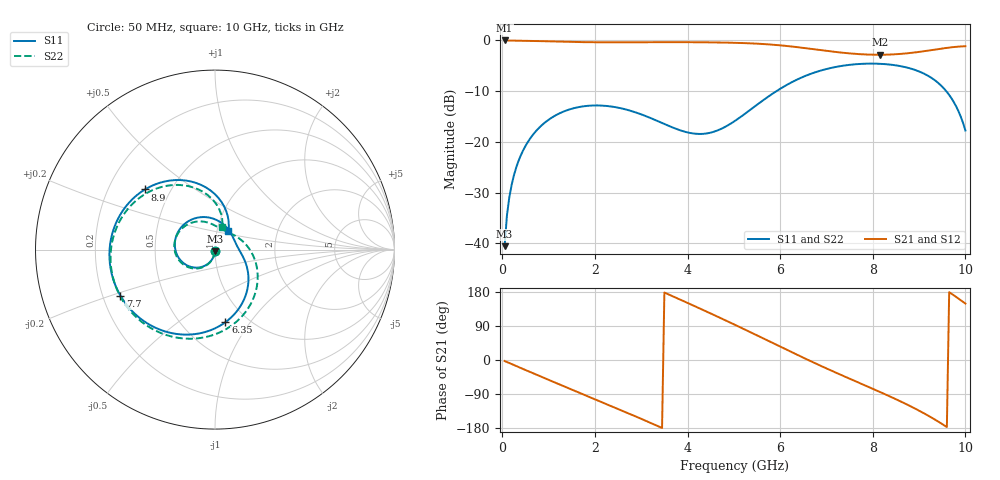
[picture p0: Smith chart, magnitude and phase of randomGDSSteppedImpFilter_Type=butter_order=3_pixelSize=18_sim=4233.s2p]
! freq	dB(S11)	phase(S11)	dB(S12)	phase(S12)
!  dB(S21)	phase(S21)	dB(S22)	phase(S22)
!S-par simulation data
#  GHz  S  DB  R 50
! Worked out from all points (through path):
!   200 points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, 50 MHz to 10 GHz, reference 50 ohm
!   highest |S21| = 0.00 dB at 50 MHz (marker M1); lowest = -2.8 dB at 8.15 GHz (marker M2)
!   group delay of S21, straight-line fit = 155 ps
!   lowest |S11| = -40.5 dB at 50 MHz (marker M3), VSWR 1.02, Z = 50 - j0.938 ohm
!   |S11| at or under -10 dB: start of sweep to 5.918 GHz; 9.587 GHz to end of sweep
!   |S22| runs from -40.5 to -4.6 dB; largest |S21 - S12| = 0
!   S11 on the Smith chart (normalised r, x): 50 MHz: 1.00, -0.02; 6.35 GHz: 0.79, -0.77; 7.7 GHz: 0.27, -0.21; 8.9 GHz: 0.36, +0.33; 10 GHz: 1.13, +0.24
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0.05  -40.54 -92.4  -0.00 -2.7  -0.00 -2.7  -40.51 -92.2
0.1  -34.52 -95.4  -0.01 -5.4  -0.01 -5.4  -34.50 -95.0
0.2  -28.52 -100.9  -0.02 -10.6  -0.02 -10.6  -28.52 -100.3
0.5  -20.80 -117.4  -0.07 -26.4  -0.07 -26.4  -20.81 -115.9
1.15  -14.76 -152.5  -0.22 -60.1  -0.22 -60.1  -14.77 -148.7
1.75  -12.98 175.4  -0.33 -90.7  -0.33 -90.7  -12.99 -178.1
2.5  -13.25 134.2  -0.37 -129.0  -0.37 -129.0  -13.26 146.3
2.95  -14.40 108.0  -0.35 -152.6  -0.35 -152.6  -14.42 125.5
3.4  -16.07 80.1  -0.34 -176.6  -0.34 -176.6  -16.09 105.4
4.15  -18.37 31.4  -0.35 142.4  -0.35 142.4  -18.46 71.5
4.6  -17.90 5.8  -0.39 117.1  -0.39 117.1  -18.03 46.2
5.05  -15.69 -15.7  -0.47 91.4  -0.47 91.4  -15.81 16.1
5.6  -12.00 -42.1  -0.69 59.1  -0.69 59.1  -12.08 -21.5
6.35  -7.78 -81.8  -1.30 14.8  -1.30 14.8  -7.81 -69.7
6.7  -6.45 -100.8  -1.70 -5.4  -1.70 -5.4  -6.47 -90.8
7.2  -5.22 -127.7  -2.27 -33.2  -2.27 -33.2  -5.24 -119.4
7.7  -4.64 -154.0  -2.69 -60.0  -2.69 -60.0  -4.66 -146.5
8.15  -4.60 -177.8  -2.82 -84.1  -2.82 -84.1  -4.62 -170.7
8.35  -4.74 171.3  -2.78 -95.0  -2.78 -95.0  -4.76 178.3
8.9  -5.77 139.4  -2.38 -127.3  -2.38 -127.3  -5.82 146.2
9.55  -9.60 94.4  -1.53 -172.9  -1.53 -172.9  -9.66 101.7
10  -17.75 54.7  -1.14 148.8  -1.14 148.8  -17.57 72.3
